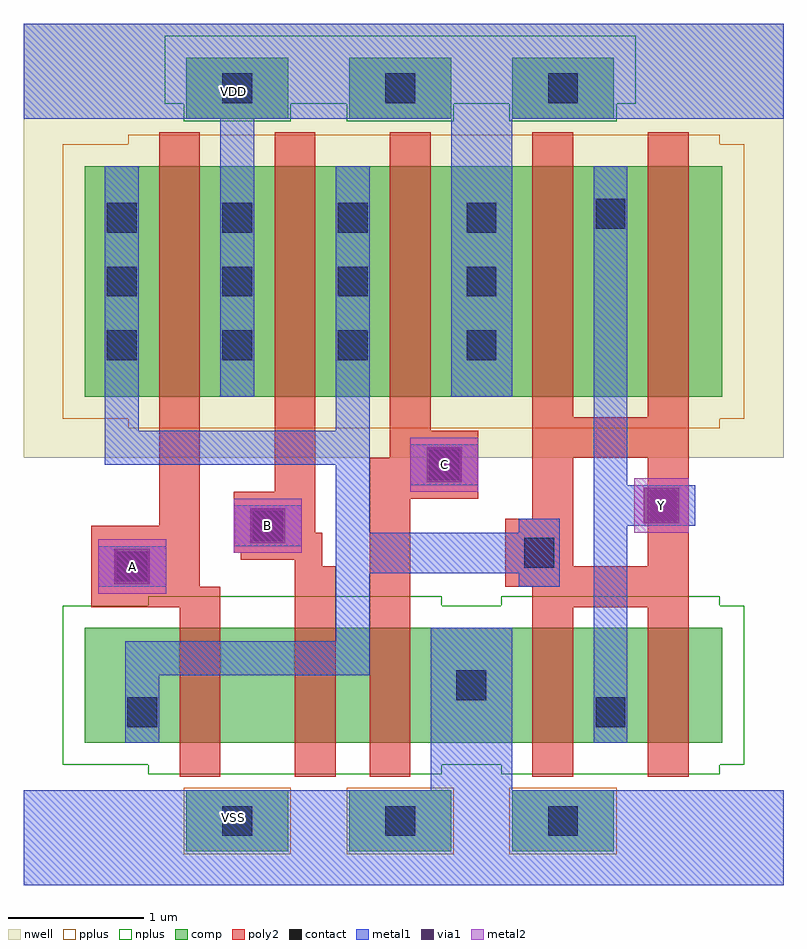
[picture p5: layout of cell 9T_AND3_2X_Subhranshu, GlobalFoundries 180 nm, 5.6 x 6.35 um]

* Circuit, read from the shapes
.subckt 9T_AND3_2X_Subhranshu A B C VDD VSS Y
XM1 n1 A n2 VSS nfet_03v3 w=0.85u l=0.3u
XM2 n3 B n1 VSS nfet_03v3 w=0.85u l=0.3u
XM3 VSS C n3 VSS nfet_03v3 w=0.85u l=0.3u
XM4 Y n2 VSS VSS nfet_03v3 w=0.85u l=0.3u
XM5 n4 n2 Y VSS nfet_03v3 w=0.85u l=0.3u
XM6 VDD A n2 VDD pfet_03v3 w=1.7u l=0.3u
XM7 n2 B VDD VDD pfet_03v3 w=1.7u l=0.3u
XM8 VDD C n2 VDD pfet_03v3 w=1.7u l=0.3u
XM9 Y n2 VDD VDD pfet_03v3 w=1.7u l=0.3u
XM10 n5 n2 Y VDD pfet_03v3 w=1.7u l=0.3u
.ends

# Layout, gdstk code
import gdstk
lib = gdstk.Library(unit=1e-6, precision=1e-09)
def R(c, l, rs):  # rectangles x0, y0, x1, y1
    for r in rs: c.add(gdstk.rectangle(r[:2], r[2:], *l))
def A(c, l, x, y, w, h, nx, ny, dx, dy):  # array of equal rectangles
    R(c, l, [(x+i*dx, y+j*dy, x+i*dx+w, y+j*dy+h) for i in range(nx) for j in range(ny)])
nwell = (21, 0)
comp = (22, 0)
poly2 = (30, 0)
pplus = (31, 0)
nplus = (32, 0)
contact = (33, 0)
metal1 = (34, 0)
via1 = (35, 0)
metal2 = (36, 0)

c_9t_and3_2x_subhranshu = lib.new_cell('9T_AND3_2X_Subhranshu')
R(c_9t_and3_2x_subhranshu, nwell, [(-0.9,3.15,4.7,6.35)])
A(c_9t_and3_2x_subhranshu, comp, 0.3, 0.25, 0.75, 0.45, 3, 2, 1.2, 5.4)
R(c_9t_and3_2x_subhranshu, comp, [(-0.45,1.05,4.25,1.9), (-0.45,3.6,4.25,5.3)])
R(c_9t_and3_2x_subhranshu, poly2, [(0.25,0.8,0.55,2.05), (1.1,0.8,1.4,2.35), (1.65,0.8,1.95,2.85), (2.85,0.8,3.15,2.05), (3.7,0.8,4,2.05), (-0.4,2.05,0.55,2.2), (2.85,2.05,4,2.2), (-0.4,2.2,0.4,2.65), (2.65,2.2,4,2.35), (1.1,2.35,1.3,2.4), (2.65,2.35,3.15,2.7), (3.7,2.35,4,3.15), (0.7,2.4,1.3,2.45), (0.65,2.45,1.3,2.6), (0.65,2.6,1.25,2.9), (0.1,2.65,0.4,5.55), (2.85,2.7,3.15,3.15), (1.65,2.85,2.45,3.15), (0.95,2.9,1.25,5.55), (1.8,3.15,2.45,3.35), (2.85,3.15,4,3.45), (1.8,3.35,2.1,5.55), (2.85,3.45,3.15,5.55), (3.7,3.45,4,5.55)])
A(c_9t_and3_2x_subhranshu, pplus, 0.28, 0.23, 0.79, 0.49, 3, 1, 1.2, 0)
R(c_9t_and3_2x_subhranshu, pplus, [(-0.13,3.37,4.23,3.44), (-0.61,3.44,4.41,5.46), (-0.13,5.46,4.23,5.53)])
A(c_9t_and3_2x_subhranshu, nplus, 0.28, 5.63, 0.79, 0.13, 3, 1, 1.2, 0)
R(c_9t_and3_2x_subhranshu, nplus, [(0.02,0.82,2.18,0.89), (2.62,0.82,4.23,0.89), (-0.61,0.89,4.41,2.06), (0.02,2.06,2.18,2.13), (2.62,2.06,4.23,2.13), (0.14,5.76,3.61,6.26)])
A(c_9t_and3_2x_subhranshu, contact, 0.565, 0.365, 0.22, 0.22, 3, 2, 1.2, 5.4)
A(c_9t_and3_2x_subhranshu, contact, -0.285, 3.87, 0.22, 0.22, 3, 3, 0.85, 0.47)
A(c_9t_and3_2x_subhranshu, contact, 2.365, 3.87, 0.22, 0.22, 1, 3, 0, 0.47)
R(c_9t_and3_2x_subhranshu, contact, [(-0.135,1.165,0.085,1.385), (3.315,1.165,3.535,1.385), (2.29,1.365,2.51,1.585), (-0.21,2.24,0.01,2.46), (2.79,2.34,3.01,2.56), (0.79,2.54,1.01,2.76), (2.09,2.99,2.31,3.21), (3.315,4.84,3.535,5.06)])
R(c_9t_and3_2x_subhranshu, metal1, [(-0.9,0,4.7,0.7), (2.1,0.7,2.7,1.9), (-0.15,1.05,0.1,1.55), (3.3,1.05,3.55,2.65), (-0.15,1.55,1.65,1.8), (1.4,1.8,1.65,2.3), (-0.35,2.2,0.15,2.5), (2.75,2.2,3.05,2.3), (1.4,2.3,3.05,2.6), (0.65,2.5,1.15,2.8), (1.4,2.6,1.65,3.1), (2.75,2.6,3.05,2.7), (3.3,2.65,4.05,2.95), (1.95,2.95,2.45,3.25), (3.3,2.95,3.55,5.3), (-0.3,3.1,1.65,3.35), (-0.3,3.35,-0.05,5.3), (1.4,3.35,1.65,5.3), (0.55,3.6,0.8,5.65), (2.25,3.6,2.7,5.65), (-0.9,5.65,4.7,6.35)])
R(c_9t_and3_2x_subhranshu, via1, [(-0.23,2.22,0.03,2.48), (0.77,2.52,1.03,2.78), (3.67,2.67,3.93,2.93), (2.07,2.97,2.33,3.23)])
R(c_9t_and3_2x_subhranshu, metal2, [(-0.35,2.15,0.15,2.55), (0.65,2.45,1.15,2.85), (3.6,2.6,4,3), (1.95,2.9,2.45,3.3)])
c_9t_and3_2x_subhranshu.add(gdstk.Label('VDD', (0.65,5.85), layer=34, texttype=0))
c_9t_and3_2x_subhranshu.add(gdstk.Label('VSS', (0.65,0.5), layer=34, texttype=0))
c_9t_and3_2x_subhranshu.add(gdstk.Label('VSS', (0.675,0.475), layer=34, texttype=0))
c_9t_and3_2x_subhranshu.add(gdstk.Label('VDD', (0.675,5.875), layer=34, texttype=0))
c_9t_and3_2x_subhranshu.add(gdstk.Label('C', (2.2,3.1), layer=36, texttype=0))
c_9t_and3_2x_subhranshu.add(gdstk.Label('A', (-0.1,2.35), layer=36, texttype=0))
c_9t_and3_2x_subhranshu.add(gdstk.Label('B', (0.9,2.65), layer=36, texttype=0))
c_9t_and3_2x_subhranshu.add(gdstk.Label('Y', (3.8,2.8), layer=36, texttype=0))

lib.write_gds('9T_AND3_2X_Subhranshu.gds')
